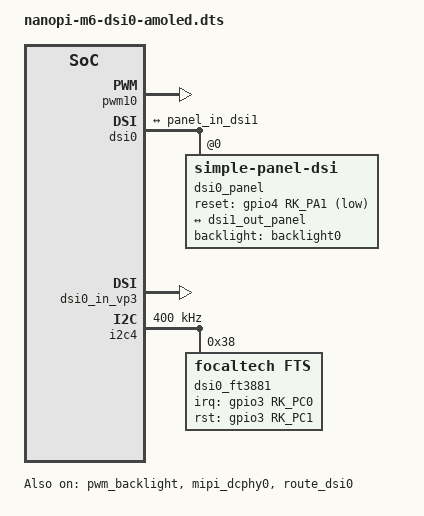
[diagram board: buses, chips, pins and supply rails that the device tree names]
/dts-v1/;
/plugin/;

#include <dt-bindings/interrupt-controller/irq.h>
#include <dt-bindings/gpio/gpio.h>
#include <dt-bindings/pinctrl/rockchip.h>

/ {
	metadata {
		title ="Enable nanopi-m6 Display";
		compatible = "friendlyelec,nanopi-m6";
		category = "display";
		exclusive = "dsi0";
		description = "Enable nanopi-m6 Display";
	};

	fragment@0 {
		target = <&pwm_backlight>;
		__overlay__ {
			brightness-levels = <
        		  0  20  20  21  21  22  22  23
        		 23  24  24  25  25  26  26  27
        		 27  28  28  29  29  30  30  31
        		 31  32  32  33  33  34  34  35
        		 35  36  36  37  37  38  38  39
        		 40  41  42  43  44  45  46  47
        		 48  49  50  51  52  53  54  55
        		 56  57  58  59  60  61  62  63
        		 64  65  66  67  68  69  70  71
        		 72  73  74  75  76  77  78  79
        		 80  81  82  83  84  85  86  87
        		 88  89  90  91  92  93  94  95
        		 96  97  98  99 100 101 102 103
        		104 105 106 107 108 109 110 111
        		112 113 114 115 116 117 118 119
        		120 121 122 123 124 125 126 127
        		128 129 130 131 132 133 134 135
        		136 137 138 139 140 141 142 143
        		144 145 146 147 148 149 150 151
        		152 153 154 155 156 157 158 159
        		160 161 162 163 164 165 166 167
        		168 169 170 171 172 173 174 175
        		176 177 178 179 180 181 182 183
        		184 185 186 187 188 189 190 191
        		192 193 194 195 196 197 198 199
        		200 201 202 203 204 205 206 207
        		208 209 210 211 212 213 214 215
        		216 217 218 219 220 221 222 223
        		224 225 226 227 228 229 230 231
        		232 233 234 235 236 237 238 239
        		240 241 242 243 244 245 246 247
        		248 249 250 251 252 253 254 255
        	>;
        	default-brightness-level = <200>;
        	pwms = <&pwm10 0 25000 0>;
            status = "okay";
		};	
	};

	fragment@1 {
		target = <&pwm10>;

		__overlay__ {
			status = "okay";
			pinctrl-names = "active";
			pinctrl-0 = <&pwm10m2_pins>;
		};
	};

	fragment@2 {
		target = <&dsi0>;

		__overlay__ {status = "okay";
			dsi0_panel: panel@0 {
				compatible = "simple-panel-dsi";
				reg = <0>;
				status = "okay";
				pinctrl-names = "default";
				pinctrl-0 = <&lcd_rst1_gpio>;
				reset-gpios = <&gpio4 RK_PA1 GPIO_ACTIVE_LOW>;
				backlight = <&backlight0>;
				reset-delay-ms = <20>;
				init-delay-ms = <120>;
				enable-delay-ms = <5>;
				prepare-delay-ms = <0>;
				unprepare-delay-ms = <10>;
				disable-delay-ms = <5>;
				width-mm = <45>;
				height-mm = <75>;
		
				dsi,flags = <(MIPI_DSI_MODE_VIDEO | MIPI_DSI_MODE_VIDEO_BURST | MIPI_DSI_MODE_LPM | MIPI_DSI_CLOCK_NON_CONTINUOUS)>;
				dsi,format = <MIPI_DSI_FMT_RGB888>;
				dsi,lanes  = <4>;
				panel-init-sequence = [
					15 00 02 FE 28
					15 00 02 07 44
					15 00 02 05 DE
					15 00 02 06 DE
					15 00 02 FE 00
					15 00 02 2F 0C
					15 00 02 FE 00
					15 00 02 FA 07
					15 00 02 FE 40
					15 00 02 8A 82
					15 00 02 FE 00
					15 00 02 C2 08
					15 00 02 35 00
					39 00 03 51 FF FF
					15 78 02 11 00
					15 00 02 29 00
				];
		
				panel-exit-sequence = [
					15 00 02 28 00
					15 3C 02 10 00
				];
		
				display-timings {
					native-mode = <&dsi_timing0>;
					dsi_timing0: timing0 {
						clock-frequency = <189100000>;
						hactive = <2480>;
						vactive = <1860>;
						hfront-porch = <10>;
						hsync-len = <2>;
						hback-porch = <10>;
						vfront-porch = <20>;
						vsync-len = <2>;
						vback-porch = <8>;
						hsync-active = <0>;
						vsync-active = <0>;
						de-active = <0>;
						pixelclk-active = <0>;
					};
				};
		
				ports {
					#address-cells = <1>;
					#size-cells = <0>;
		
					port@0 {
						reg = <0>;
						panel_in_dsi1: endpoint {
							remote-endpoint = <&dsi1_out_panel>;
						};
					};
				};
			};
		
			ports {
				#address-cells = <1>;
				#size-cells = <0>;
		
				port@1 {
					reg = <1>;
					dsi1_out_panel: endpoint {
						remote-endpoint = <&panel_in_dsi1>;
					};
				};
			};
		};
	};

	fragment@3 {
		target = <&mipi_dcphy0>;

		__overlay__ {
			status = "okay";
		};
	};

	fragment@4 {
		target = <&route_dsi0>;

		__overlay__ {
			status = "okay";
			connect = <&vp3_out_dsi0>;
		};
	};

	fragment@5 {
		target = <&dsi0_in_vp2>;

		__overlay__ {
			status = "disabled";
		};
	};

	fragment@6 {
		target = <&dsi0_in_vp3>;

		__overlay__ {
			status = "okay";
		};
	};

	fragment@7 {
		target = <&i2c4>;

		__overlay__ {
			status = "okay";
			pinctrl-names = "default";
			pinctrl-0 = <&i2c4m3_xfer>;
			clock-frequency = <400000>;
			#address-cells = <1>;
			#size-cells = <0>;

			dsi0_ft3881: ft3881@38 {
		        	compatible = "focaltech,fts";
		        	reg = <0x38>;
		        	pinctrl-names = "default";
				pinctrl-0 = <&touch_dsi0_gpio>;
				interrupt-parent = <&gpio3>;
				interrupts = <RK_PC0 IRQ_TYPE_EDGE_FALLING>;
				focaltech,irq-gpio = <&gpio3 RK_PC0 IRQ_TYPE_EDGE_FALLING>;
				focaltech,rst-gpio = <&gpio3 RK_PC1 GPIO_ACTIVE_HIGH>;
		        	focaltech,max-touch-number = <10>;
		        	focaltech,display-coords =  <0 0 1860 2480>;
			       	status = "okay";
		        };
		};
	};
};
